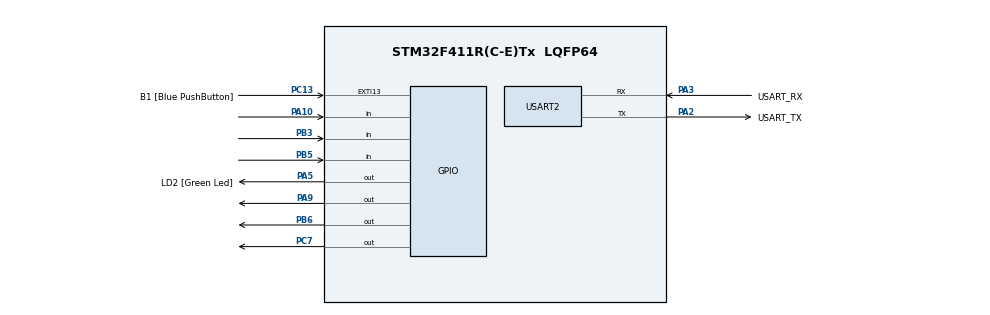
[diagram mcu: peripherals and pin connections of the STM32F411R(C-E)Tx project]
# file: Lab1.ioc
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Mcu.Family=STM32F4
Mcu.Name=STM32F411R(C-E)Tx
Mcu.Package=LQFP64
NVIC.PriorityGroup=NVIC_PRIORITYGROUP_0
PA10.Signal=GPIO_Input
PA13.GPIO_Label=TMS
PA13.Mode=Serial_Wire
PA13.Signal=SYS_JTMS-SWDIO
PA14.GPIO_Label=TCK
PA14.Mode=Serial_Wire
PA14.Signal=SYS_JTCK-SWCLK
PA2.GPIO_Label=USART_TX
PA2.Mode=Asynchronous
PA2.Signal=USART2_TX
PA3.GPIO_Label=USART_RX
PA3.Mode=Asynchronous
PA3.Signal=USART2_RX
PA5.GPIO_Label=LD2 [Green Led]
PA5.Signal=GPIO_Output
PA9.Signal=GPIO_Output
PB3.Signal=GPIO_Input
PB5.Signal=GPIO_Input
PB6.Signal=GPIO_Output
PC13-ANTI_TAMP.GPIO_Label=B1 [Blue PushButton]
PC13-ANTI_TAMP.GPIO_ModeDefaultEXTI=GPIO_MODE_IT_FALLING
PC13-ANTI_TAMP.Signal=GPXTI13
PC14-OSC32_IN.Mode=LSE-External-Oscillator
PC14-OSC32_IN.Signal=RCC_OSC32_IN
PC15-OSC32_OUT.Mode=LSE-External-Oscillator
PC15-OSC32_OUT.Signal=RCC_OSC32_OUT
PC7.Signal=GPIO_Output
PH0\ -\ OSC_IN.Mode=HSE-External-Clock-Source
PH0\ -\ OSC_IN.Signal=RCC_OSC_IN
PH1\ -\ OSC_OUT.Mode=HSE-External-Clock-Source
PH1\ -\ OSC_OUT.Signal=RCC_OSC_OUT
ProjectManager.HeapSize=0x200
ProjectManager.StackSize=0x400
ProjectManager.TargetToolchain=STM32CubeIDE
RCC.48MHZClocksFreq_Value=84000000
RCC.AHBFreq_Value=84000000
RCC.APB1CLKDivider=RCC_HCLK_DIV2
RCC.APB1Freq_Value=42000000
RCC.APB1TimFreq_Value=84000000
RCC.APB2Freq_Value=84000000
RCC.APB2TimFreq_Value=84000000
RCC.CortexFreq_Value=84000000
RCC.FLatency-AdvancedSettings=FLASH_LATENCY_2
RCC.HCLKFreq_Value=84000000
RCC.HSE_VALUE=8000000
RCC.HSI_VALUE=16000000
RCC.PLLN=336
RCC.PLLP=RCC_PLLP_DIV4
RCC.SYSCLKFreq_VALUE=84000000
RCC.SYSCLKSource=RCC_SYSCLKSOURCE_PLLCLK
RCC.VCOOutputFreq_Value=336000000
USART2.VirtualMode=VM_ASYNC
board=NUCLEO-F411RE

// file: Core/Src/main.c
/* USER CODE BEGIN Header */
/**
 ******************************************************************************
 * @file           : main.c
 * @brief          : Main program body
 ******************************************************************************
 * @attention
 *
 * <h2><center>&copy; Copyright (c) 2021 STMicroelectronics.
 * All rights reserved.</center></h2>
 *
 * This software component is licensed by ST under BSD 3-Clause license,
 * the "License"; You may not use this file except in compliance with the
 * License. You may obtain a copy of the License at:
 *                        opensource.org/licenses/BSD-3-Clause
 *
 ******************************************************************************
 */
/* USER CODE END Header */
#include "main.h"

UART_HandleTypeDef huart2;

void SystemClock_Config(void);
static void MX_GPIO_Init(void);
static void MX_USART2_UART_Init(void);

int main(void) {

	/* MCU Configuration--------------------------------------------------------*/

	/* Reset of all peripherals, Initializes the Flash interface and the Systick. */
	HAL_Init();

	/* Configure the system clock */
	SystemClock_Config();

	/* Initialize all configured peripherals */
	MX_GPIO_Init();
	MX_USART2_UART_Init();
	/* USER CODE BEGIN 2 */
	GPIO_PinState SwitchState_S1[2]; //Now/Last
	GPIO_PinState SwitchState_S2[2]; //Now/Last
	GPIO_PinState SwitchState_S3[2]; //Now/Last
	uint16_t LED1_HalfPeriod = 1000; //Hz
	uint16_t LED3_HalfPeriod = 500; //Hz
	uint16_t LED5_HalfPeriod = 500; //Hz
	uint32_t TimeStamp = 0;
	uint32_t TimeStamp1 = 0;
	uint32_t ButtonTimeStamp = 0;
	int n = 1;
	/* USER CODE END 2 */

	/* Infinite loop */
	while (1) {

		/* USER CODE BEGIN 3 */
		if (HAL_GetTick() - ButtonTimeStamp >= 100) //ms
				{
			ButtonTimeStamp = HAL_GetTick();
			//สวิตซ์แบบกดแล้วlow
			SwitchState_S1[0] = HAL_GPIO_ReadPin(GPIOA, GPIO_PIN_10);
			SwitchState_S2[0] = HAL_GPIO_ReadPin(GPIOB, GPIO_PIN_3);
			SwitchState_S3[0] = HAL_GPIO_ReadPin(GPIOB, GPIO_PIN_5);

			if (SwitchState_S1[1] == GPIO_PIN_SET
					&& SwitchState_S1[0] == GPIO_PIN_RESET) {
				if (LED1_HalfPeriod == 1000) {
					LED1_HalfPeriod = 500;
				} else if (LED1_HalfPeriod == 500) {
					LED1_HalfPeriod = 250;
				} else if (LED1_HalfPeriod == 250) {
					LED1_HalfPeriod = 167;
				} else if (LED1_HalfPeriod == 167) {
					LED1_HalfPeriod = 1000;
				}
			}
			SwitchState_S1[1] = SwitchState_S1[0];

			if (SwitchState_S2[1] == GPIO_PIN_SET
					&& SwitchState_S2[0] == GPIO_PIN_RESET) {
				if (HAL_GPIO_ReadPin(GPIOC, GPIO_PIN_7) == GPIO_PIN_SET) {
					HAL_GPIO_WritePin(GPIOC, GPIO_PIN_7, GPIO_PIN_RESET);
				} else {
					HAL_GPIO_WritePin(GPIOC, GPIO_PIN_7, GPIO_PIN_SET);
				}
			}
			SwitchState_S2[1] = SwitchState_S2[0];

			if (SwitchState_S3[1] == GPIO_PIN_SET
					&& SwitchState_S3[0] == GPIO_PIN_RESET) {
				if (n == 0) {
					n = 1;
				} else if (n == 1) {
					n = 0;
			}
		}
		SwitchState_S3[1] = SwitchState_S3[0];
	}
	if (HAL_GetTick() - TimeStamp >= LED1_HalfPeriod) {
		TimeStamp = HAL_GetTick(); //ms
		if (HAL_GPIO_ReadPin(GPIOA, GPIO_PIN_9) == GPIO_PIN_SET) {
			HAL_GPIO_WritePin(GPIOA, GPIO_PIN_9, GPIO_PIN_RESET);
		} else {
			HAL_GPIO_WritePin(GPIOA, GPIO_PIN_9, GPIO_PIN_SET);
		}
	}

	if (HAL_GetTick() - TimeStamp1 >= LED5_HalfPeriod) {
		TimeStamp1 = HAL_GetTick(); //ms
		if (n == 0) {
			if (HAL_GPIO_ReadPin(GPIOB, GPIO_PIN_6) == GPIO_PIN_SET) {
				HAL_GPIO_WritePin(GPIOB, GPIO_PIN_6, GPIO_PIN_RESET);
				LED5_HalfPeriod = 500;
			} else {
				HAL_GPIO_WritePin(GPIOB, GPIO_PIN_6, GPIO_PIN_SET);
				LED5_HalfPeriod = 1500;
			}
		} else if (n == 1) {
			if (HAL_GPIO_ReadPin(GPIOB, GPIO_PIN_6) == GPIO_PIN_SET) {
				HAL_GPIO_WritePin(GPIOB, GPIO_PIN_6, GPIO_PIN_RESET);
				LED5_HalfPeriod = 1500;
			} else {
				HAL_GPIO_WritePin(GPIOB, GPIO_PIN_6, GPIO_PIN_SET);
				LED5_HalfPeriod = 500;
			}
		}
	}

}
/* USER CODE END 3 */
}

void SystemClock_Config(void) {
RCC_OscInitTypeDef RCC_OscInitStruct = { 0 };
RCC_ClkInitTypeDef RCC_ClkInitStruct = { 0 };

/** Configure the main internal regulator output voltage
 */
__HAL_RCC_PWR_CLK_ENABLE();
__HAL_PWR_VOLTAGESCALING_CONFIG(PWR_REGULATOR_VOLTAGE_SCALE1);
/** Initializes the RCC Oscillators according to the specified parameters
 * in the RCC_OscInitTypeDef structure.
 */
RCC_OscInitStruct.OscillatorType = RCC_OSCILLATORTYPE_HSI;
RCC_OscInitStruct.HSIState = RCC_HSI_ON;
RCC_OscInitStruct.HSICalibrationValue = RCC_HSICALIBRATION_DEFAULT;
RCC_OscInitStruct.PLL.PLLState = RCC_PLL_ON;
RCC_OscInitStruct.PLL.PLLSource = RCC_PLLSOURCE_HSI;
RCC_OscInitStruct.PLL.PLLM = 16;
RCC_OscInitStruct.PLL.PLLN = 336;
RCC_OscInitStruct.PLL.PLLP = RCC_PLLP_DIV4;
RCC_OscInitStruct.PLL.PLLQ = 4;
if (HAL_RCC_OscConfig(&RCC_OscInitStruct) != HAL_OK) {
	Error_Handler();
}
/** Initializes the CPU, AHB and APB buses clocks
 */
RCC_ClkInitStruct.ClockType = RCC_CLOCKTYPE_HCLK | RCC_CLOCKTYPE_SYSCLK
		| RCC_CLOCKTYPE_PCLK1 | RCC_CLOCKTYPE_PCLK2;
RCC_ClkInitStruct.SYSCLKSource = RCC_SYSCLKSOURCE_PLLCLK;
RCC_ClkInitStruct.AHBCLKDivider = RCC_SYSCLK_DIV1;
RCC_ClkInitStruct.APB1CLKDivider = RCC_HCLK_DIV2;
RCC_ClkInitStruct.APB2CLKDivider = RCC_HCLK_DIV1;

if (HAL_RCC_ClockConfig(&RCC_ClkInitStruct, FLASH_LATENCY_2) != HAL_OK) {
	Error_Handler();
}
}

static void MX_USART2_UART_Init(void) {

huart2.Instance = USART2;
huart2.Init.BaudRate = 115200;
huart2.Init.WordLength = UART_WORDLENGTH_8B;
huart2.Init.StopBits = UART_STOPBITS_1;
huart2.Init.Parity = UART_PARITY_NONE;
huart2.Init.Mode = UART_MODE_TX_RX;
huart2.Init.HwFlowCtl = UART_HWCONTROL_NONE;
huart2.Init.OverSampling = UART_OVERSAMPLING_16;
if (HAL_UART_Init(&huart2) != HAL_OK) {
	Error_Handler();
}

}

static void MX_GPIO_Init(void) {
GPIO_InitTypeDef GPIO_InitStruct = { 0 };

/* GPIO Ports Clock Enable */
__HAL_RCC_GPIOC_CLK_ENABLE();
__HAL_RCC_GPIOH_CLK_ENABLE();
__HAL_RCC_GPIOA_CLK_ENABLE();
__HAL_RCC_GPIOB_CLK_ENABLE();

/*Configure GPIO pin Output Level */
HAL_GPIO_WritePin(GPIOA, LD2_Pin | GPIO_PIN_9, GPIO_PIN_RESET);

/*Configure GPIO pin Output Level */
HAL_GPIO_WritePin(GPIOC, GPIO_PIN_7, GPIO_PIN_RESET);

/*Configure GPIO pin Output Level */
HAL_GPIO_WritePin(GPIOB, GPIO_PIN_6, GPIO_PIN_RESET);

/*Configure GPIO pin : B1_Pin */
GPIO_InitStruct.Pin = B1_Pin;
GPIO_InitStruct.Mode = GPIO_MODE_IT_FALLING;
GPIO_InitStruct.Pull = GPIO_NOPULL;
HAL_GPIO_Init(B1_GPIO_Port, &GPIO_InitStruct);

/*Configure GPIO pins : LD2_Pin PA9 */
GPIO_InitStruct.Pin = LD2_Pin | GPIO_PIN_9;
GPIO_InitStruct.Mode = GPIO_MODE_OUTPUT_PP;
GPIO_InitStruct.Pull = GPIO_NOPULL;
GPIO_InitStruct.Speed = GPIO_SPEED_FREQ_LOW;
HAL_GPIO_Init(GPIOA, &GPIO_InitStruct);

/*Configure GPIO pin : PC7 */
GPIO_InitStruct.Pin = GPIO_PIN_7;
GPIO_InitStruct.Mode = GPIO_MODE_OUTPUT_PP;
GPIO_InitStruct.Pull = GPIO_NOPULL;
GPIO_InitStruct.Speed = GPIO_SPEED_FREQ_LOW;
HAL_GPIO_Init(GPIOC, &GPIO_InitStruct);

/*Configure GPIO pin : PA10 */
GPIO_InitStruct.Pin = GPIO_PIN_10;
GPIO_InitStruct.Mode = GPIO_MODE_INPUT;
GPIO_InitStruct.Pull = GPIO_NOPULL;
HAL_GPIO_Init(GPIOA, &GPIO_InitStruct);

/*Configure GPIO pins : PB3 PB5 */
GPIO_InitStruct.Pin = GPIO_PIN_3 | GPIO_PIN_5;
GPIO_InitStruct.Mode = GPIO_MODE_INPUT;
GPIO_InitStruct.Pull = GPIO_NOPULL;
HAL_GPIO_Init(GPIOB, &GPIO_InitStruct);

/*Configure GPIO pin : PB6 */
GPIO_InitStruct.Pin = GPIO_PIN_6;
GPIO_InitStruct.Mode = GPIO_MODE_OUTPUT_PP;
GPIO_InitStruct.Pull = GPIO_NOPULL;
GPIO_InitStruct.Speed = GPIO_SPEED_FREQ_LOW;
HAL_GPIO_Init(GPIOB, &GPIO_InitStruct);

}

void Error_Handler(void) {
__disable_irq();
while (1) {
}
}

/************************ (C) COPYRIGHT STMicroelectronics *****END OF FILE****/
